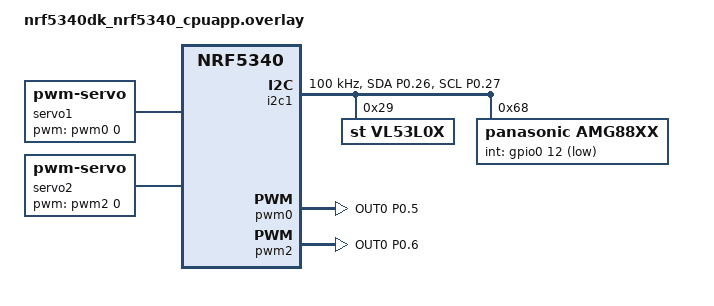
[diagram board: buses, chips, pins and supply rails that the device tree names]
/* Use I2C1 (TWIM1) so we don't clash with UARTE0 */
&pinctrl {
    i2c1_default: i2c1_default {
        group1 {
            /* SDA P0.14, SCL P0.15 */
            psels = <NRF_PSEL(TWIM_SDA, 0, 26)>,
                    <NRF_PSEL(TWIM_SCL, 0, 27)>;
        };
    };
    i2c1_sleep: i2c1_sleep {
        group1 {
            psels = <NRF_PSEL(TWIM_SDA, 0, 26)>,
                    <NRF_PSEL(TWIM_SCL, 0, 27)>;
            low-power-enable;
        };
    };


    pwm0_custom: pwm0_custom {
        group1 {
            psels = <NRF_PSEL(PWM_OUT0, 0, 5)>;
            nordic,invert;
        };
    };
    pwm0_csleep: pwm0_csleep {
        group1 {
            psels = <NRF_PSEL(PWM_OUT0, 0, 5)>;
            low-power-enable;
        };
    };

    // A second PWM OUTPUT AT P0.06 HERE
    pwm2_custom: pwm2_custom {
        group1 {
            psels = <NRF_PSEL(PWM_OUT0, 0, 6)>;
            nordic,invert;
        };
    };
    pwm2_csleep: pwm2_csleep {
        group1 {
            psels = <NRF_PSEL(PWM_OUT0, 0, 6)>;
            low-power-enable;
        };
    };
};

&i2c1 {
    status = "okay";
    clock-frequency = <I2C_BITRATE_STANDARD>;
    pinctrl-0 = <&i2c1_default>;
    pinctrl-1 = <&i2c1_sleep>;
    pinctrl-names = "default", "sleep";

    vl53l0x@29 {
        compatible = "st,vl53l0x";
        reg = <0x29>;
        label = "VL53L0X";
        /* label is deprecated; safe to omit */
        /* xshut-gpios = <&gpio0 28 GPIO_ACTIVE_LOW>;  // if wired
         * int-gpios   = <&gpio0 29 GPIO_ACTIVE_LOW>;  // if wired
         */
    };

    amg88xx@68 {                         /* use 0x68 if you moved the addr jumper */
        compatible = "panasonic,amg88xx";
        reg = <0x68>;
        status = "okay";
        int-gpios = <&gpio0 12 GPIO_ACTIVE_LOW>;
        label = "AMG88XX";
        /* Optional: wire if you want threshold/interrupt triggers */
        // Was 11 before, but conflicting. We could always revert back if needed
        // May be optional but VS Code flags it as an error if left out
        
    };
};

/* STEP 5.2 - Add the servo device */
/ {
    servo1: servo1 {
        compatible = "pwm-servo";
        pwms = <&pwm0 0 PWM_MSEC(20) PWM_POLARITY_NORMAL>;
        min-pulse = <PWM_USEC(1000)>;
        max-pulse = <PWM_USEC(2000)>;
    };

    servo2: servo2 {
        compatible = "pwm-servo";
        /* This uses PWM instance 2 */
        pwms = <&pwm2 0 PWM_MSEC(20) PWM_POLARITY_NORMAL>;
        min-pulse = <PWM_USEC(1000)>;
        max-pulse = <PWM_USEC(2000)>;
    };

};

&pwm0 {
    status = "okay";
    pinctrl-0 = <&pwm0_custom>;
    pinctrl-1 = <&pwm0_csleep>;
    pinctrl-names = "default", "sleep";
};

&pwm2 {
    status = "okay";
    pinctrl-0 = <&pwm2_custom>;
    pinctrl-1 = <&pwm2_csleep>;
    pinctrl-names = "default", "sleep";
};
